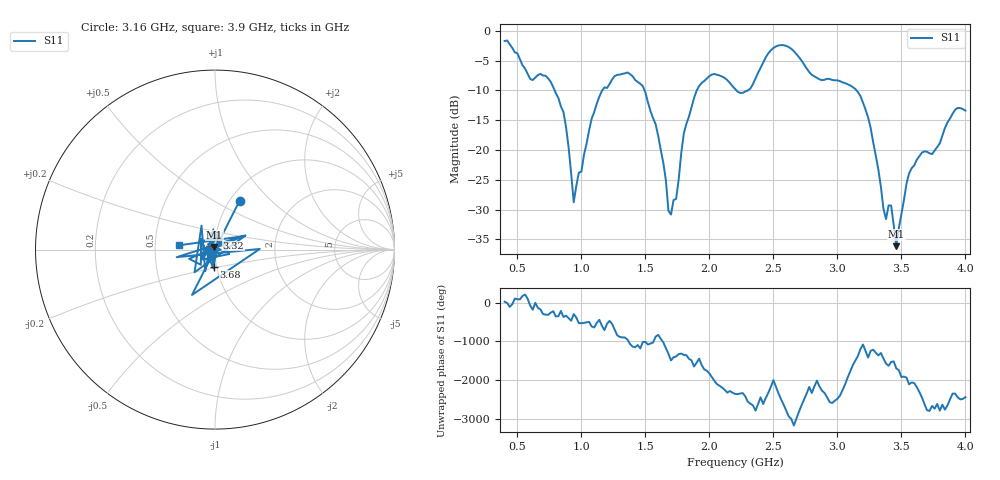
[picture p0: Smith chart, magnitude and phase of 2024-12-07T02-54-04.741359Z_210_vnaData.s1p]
!Created with skrf (http://scikit-rf.org).
# Hz S RI R 50.0
!freq ReS11 ImS11
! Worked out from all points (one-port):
!   181 points, 400 MHz to 4 GHz, reference 50 ohm
!   lowest |S11| = -36.1 dB at 3.46 GHz (marker M1), VSWR 1.03, Z = 49.5 + j1.49 ohm
!   |S11| at or under -10 dB: 790.8 MHz to 1.163 GHz (372.1 MHz wide, 38.1 % of centre); 1.494 GHz to 1.901 GHz (407.7 MHz wide, 24 % of centre); 3.149 GHz to end of sweep (the widest 3 of 4)
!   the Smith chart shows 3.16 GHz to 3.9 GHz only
!   S11 on the Smith chart (normalised r, x): 3.16 GHz: 1.11, +0.67; 3.32 GHz: 1.01, +0.14; 3.68 GHz: 0.97, -0.19; 3.9 GHz: 0.67, +0.03
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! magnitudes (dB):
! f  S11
! 400 MHz  -1.7
! 600 MHz  -8.1
! 740 MHz  -8.0
! 860 MHz  -13.6
! 940 MHz  -28.7
! 1.12 GHz  -12.2
! 1.3 GHz  -7.4
! 1.5 GHz  -10.3
! 1.6 GHz  -17.6
! 1.68 GHz  -30.2
! 1.76 GHz  -24.9
! 1.8 GHz  -17.2
! 1.92 GHz  -9.3
! 2.2 GHz  -9.7
! 2.32 GHz  -9.7
! 2.5 GHz  -2.9
! 2.66 GHz  -3.4
! 3.1 GHz  -9.2
! 3.16 GHz  -10.3
! 3.24 GHz  -14.5
! 3.32 GHz  -23.3
! 3.38 GHz  -31.6
! 3.42 GHz  -29.3
! 3.46 GHz  -36.1
! 3.56 GHz  -23.9
! 3.68 GHz  -20.2
! 3.9 GHz  -13.9
! 4 GHz  -13.4
